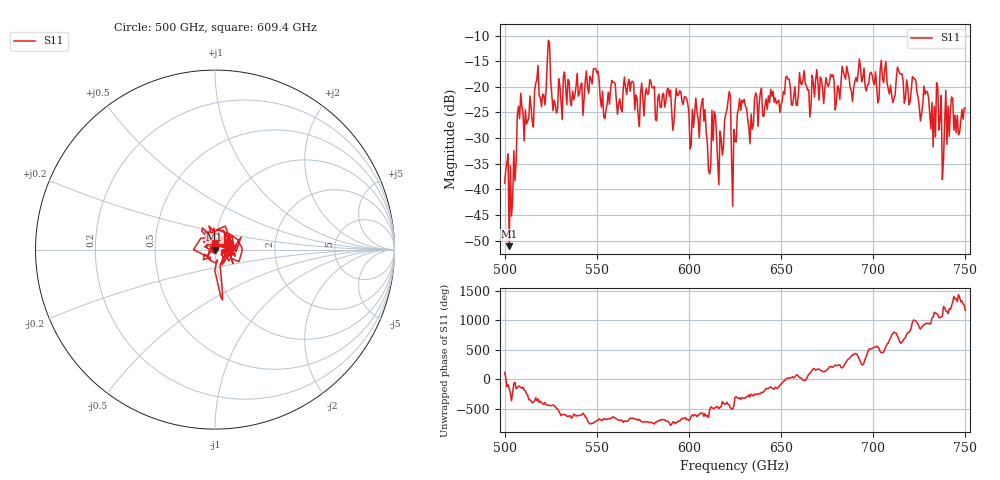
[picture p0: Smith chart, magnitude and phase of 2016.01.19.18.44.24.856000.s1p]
!Created with skrf (http://scikit-rf.org).
# GHz S RI R 50.0
!freq ReS11 ImS11
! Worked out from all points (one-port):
!   401 points, 500 GHz to 750 GHz, reference 50 ohm
!   lowest |S11| = -51.1 dB at 502.5 GHz (marker M1), VSWR 1.01, Z = 49.7 - j0.107 ohm
!   |S11| at or under -10 dB: start of sweep to end of sweep
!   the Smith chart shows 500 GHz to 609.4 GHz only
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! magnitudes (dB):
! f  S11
! 500 GHz  -38.8
! 502.5 GHz  -51.1
! 505 GHz  -32.5
! 508.1 GHz  -26.2
! 521.2 GHz  -21.5
! 523.8 GHz  -10.9
! 527.5 GHz  -23.5
! 531.2 GHz  -26.4
! 549.4 GHz  -16.4
! 553.8 GHz  -25.8
! 558.8 GHz  -19.1
! 562.5 GHz  -22.3
! 593.8 GHz  -21.7
! 601.2 GHz  -31.3
! 607.5 GHz  -22.3
! 610.6 GHz  -36.4
! 613.8 GHz  -24.8
! 616.9 GHz  -28.6
! 621.2 GHz  -22.7
! 625 GHz  -30.6
! 628.8 GHz  -22.6
! 633.8 GHz  -25.3
! 656.2 GHz  -23.6
! 687.5 GHz  -20.2
! 718.8 GHz  -20.2
! 735.6 GHz  -28.4
! 738.8 GHz  -27.1
! 750 GHz  -24.2
